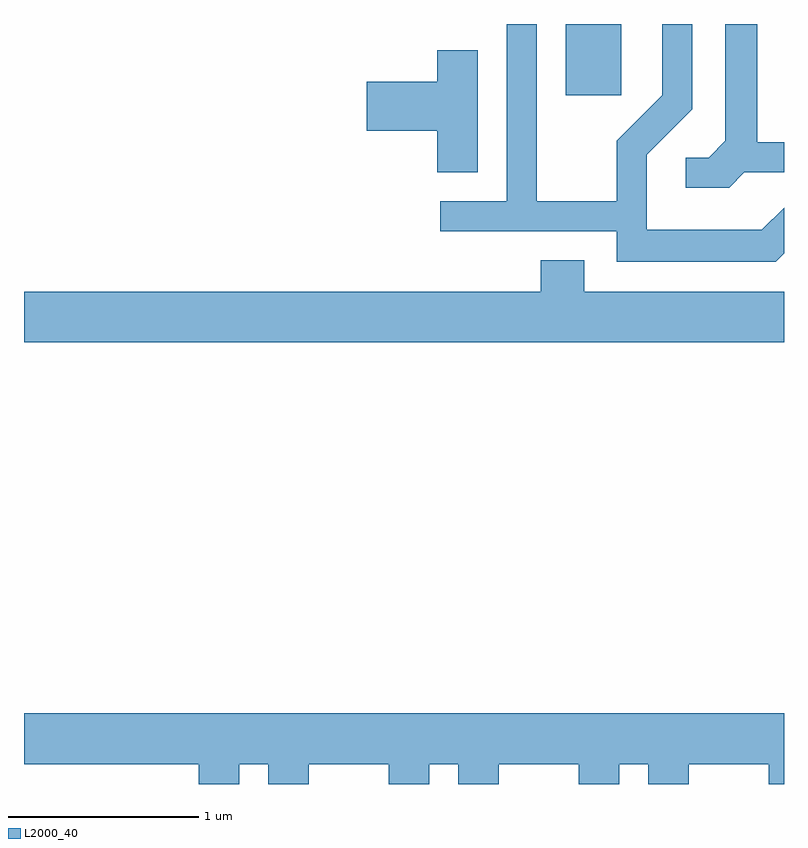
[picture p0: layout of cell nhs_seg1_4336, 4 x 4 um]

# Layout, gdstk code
import gdstk
lib = gdstk.Library(unit=1e-6, precision=1e-09)
def R(c, l, rs):  # rectangles x0, y0, x1, y1
    for r in rs: c.add(gdstk.rectangle(r[:2], r[2:], *l))
def P(c, l, *ps):  # polygons
    for p in ps: c.add(gdstk.Polygon(p, *l))
L2000_40 = (2000, 40)

nhs_seg1_4336 = lib.new_cell('nhs_seg1_4336')
R(nhs_seg1_4336, L2000_40, [(318.461,885.336,318.754,885.712)])
P(nhs_seg1_4336, L2000_40, [(319.611,884.505),(319.611,884.746),(319.494,884.629),(318.889,884.629),(318.889,885.024),(319.129,885.264),(319.129,885.712),(318.971,885.712),(318.971,885.337),(318.731,885.097),(318.731,884.779),(318.309,884.779),(318.309,885.712),(318.151,885.712),(318.151,884.779),(317.803,884.779),(317.803,884.621),(318.731,884.621),(318.731,884.461),(319.567,884.461)],
  [(319.402,884.931),(319.611,884.931),(319.611,885.089),(319.469,885.089),(319.469,885.712),(319.301,885.712),(319.301,885.097),(319.214,885.009),(319.093,885.009),(319.093,884.851),(319.322,884.851)],
  [(317.999,885.574),(317.786,885.574),(317.786,885.409),(317.416,885.409),(317.416,885.151),(317.786,885.151),(317.786,884.931),(317.999,884.931)],
  [(318.331,884.469),(318.331,884.304),(315.611,884.304),(315.611,884.036),(319.611,884.036),(319.611,884.304),(318.559,884.304),(318.559,884.469)],
  [(316.744,881.816),(316.896,881.816),(316.896,881.712),(317.109,881.712),(317.109,881.816),(317.531,881.816),(317.531,881.712),(317.744,881.712),(317.744,881.816),(317.896,881.816),(317.896,881.712),(318.109,881.712),(318.109,881.816),(318.531,881.816),(318.531,881.712),(318.744,881.712),(318.744,881.816),(318.896,881.816),(318.896,881.712),(319.109,881.712),(319.109,881.816),(319.531,881.816),(319.531,881.712),(319.611,881.712),(319.611,882.084),(315.611,882.084),(315.611,881.816),(316.531,881.816),(316.531,881.712),(316.744,881.712)])

lib.write_gds('nhs_seg1_4336.gds')
